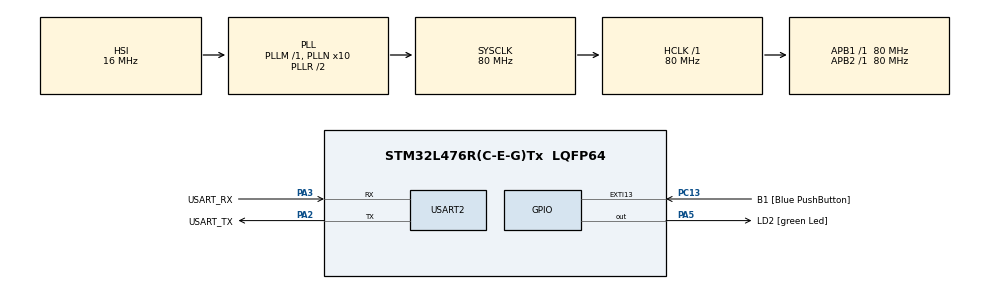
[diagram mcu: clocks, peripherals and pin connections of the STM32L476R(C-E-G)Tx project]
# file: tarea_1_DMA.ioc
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Dma.MEMTOMEM.0.Direction=DMA_MEMORY_TO_MEMORY
Dma.MEMTOMEM.0.Instance=DMA1_Channel1
Dma.MEMTOMEM.0.MemDataAlignment=DMA_MDATAALIGN_BYTE
Dma.MEMTOMEM.0.MemInc=DMA_MINC_ENABLE
Dma.MEMTOMEM.0.Mode=DMA_NORMAL
Dma.MEMTOMEM.0.PeriphDataAlignment=DMA_PDATAALIGN_BYTE
Dma.MEMTOMEM.0.PeriphInc=DMA_PINC_ENABLE
Dma.MEMTOMEM.0.Priority=DMA_PRIORITY_LOW
Dma.Request0=MEMTOMEM
Mcu.Family=STM32L4
Mcu.Name=STM32L476R(C-E-G)Tx
Mcu.Package=LQFP64
NVIC.DMA1_Channel1_IRQn=true\:0\:0\:false\:false\:true\:true\:true\:true
NVIC.PriorityGroup=NVIC_PRIORITYGROUP_4
PA13\ (JTMS-SWDIO).GPIO_Label=TMS
PA13\ (JTMS-SWDIO).Mode=Serial_Wire
PA13\ (JTMS-SWDIO).Signal=SYS_JTMS-SWDIO
PA14\ (JTCK-SWCLK).GPIO_Label=TCK
PA14\ (JTCK-SWCLK).Mode=Serial_Wire
PA14\ (JTCK-SWCLK).Signal=SYS_JTCK-SWCLK
PA2.GPIO_Label=USART_TX
PA2.GPIO_Mode=GPIO_MODE_AF_PP
PA2.GPIO_PuPd=GPIO_NOPULL
PA2.GPIO_Speed=GPIO_SPEED_FREQ_VERY_HIGH
PA2.Mode=Asynchronous
PA2.Signal=USART2_TX
PA3.GPIO_Label=USART_RX
PA3.GPIO_Mode=GPIO_MODE_AF_PP
PA3.GPIO_PuPd=GPIO_NOPULL
PA3.GPIO_Speed=GPIO_SPEED_FREQ_VERY_HIGH
PA3.Mode=Asynchronous
PA3.Signal=USART2_RX
PA5.GPIO_Label=LD2 [green Led]
PA5.GPIO_ModeDefaultOutputPP=GPIO_MODE_OUTPUT_PP
PA5.GPIO_PuPd=GPIO_NOPULL
PA5.GPIO_Speed=GPIO_SPEED_FREQ_LOW
PA5.Signal=GPIO_Output
PB3\ (JTDO-TRACESWO).GPIO_Label=SWO
PB3\ (JTDO-TRACESWO).Signal=SYS_JTDO-SWO
PC13.GPIO_Label=B1 [Blue PushButton]
PC13.GPIO_ModeDefaultEXTI=GPIO_MODE_IT_FALLING
PC13.GPIO_PuPd=GPIO_NOPULL
PC13.Signal=GPXTI13
PC14-OSC32_IN\ (PC14).Mode=LSE-External-Oscillator
PC14-OSC32_IN\ (PC14).Signal=RCC_OSC32_IN
PC15-OSC32_OUT\ (PC15).Mode=LSE-External-Oscillator
PC15-OSC32_OUT\ (PC15).Signal=RCC_OSC32_OUT
PH0-OSC_IN\ (PH0).Signal=RCC_OSC_IN
PH1-OSC_OUT\ (PH1).Signal=RCC_OSC_OUT
ProjectManager.HeapSize=0x200
ProjectManager.StackSize=0x400
ProjectManager.TargetToolchain=STM32CubeIDE
RCC.ADCFreq_Value=64000000
RCC.AHBFreq_Value=80000000
RCC.APB1Freq_Value=80000000
RCC.APB1TimFreq_Value=80000000
RCC.APB2Freq_Value=80000000
RCC.APB2TimFreq_Value=80000000
RCC.CortexFreq_Value=80000000
RCC.HCLKFreq_Value=80000000
RCC.HSE_VALUE=8000000
RCC.HSI_VALUE=16000000
RCC.MSI_VALUE=4000000
RCC.PLLN=10
RCC.PLLSourceVirtual=RCC_PLLSOURCE_HSI
RCC.PREFETCH_ENABLE=1
RCC.SYSCLKFreq_VALUE=80000000
RCC.SYSCLKSource=RCC_SYSCLKSOURCE_PLLCLK
RCC.USBFreq_Value=64000000
RCC.VCOOutputFreq_Value=160000000
USART2.VirtualMode-Asynchronous=VM_ASYNC
board=NUCLEO-L476RG

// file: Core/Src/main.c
/* USER CODE BEGIN Header */
/**
  ******************************************************************************
  * @file           : main.c
  * @brief          : Main program body
  ******************************************************************************
  * @attention
  *
  * Copyright (c) 2026 STMicroelectronics.
  * All rights reserved.
  *
  * This software is licensed under terms that can be found in the LICENSE file
  * in the root directory of this software component.
  * If no LICENSE file comes with this software, it is provided AS-IS.
  *
  ******************************************************************************
  */
/* USER CODE END Header */
#include "main.h"

/* USER CODE BEGIN Includes */
#include <string.h>
/* USER CODE END Includes */

UART_HandleTypeDef huart2;

DMA_HandleTypeDef hdma_memtomem_dma1_channel1;
/* USER CODE BEGIN PV */

uint32_t mapa_error_transfer = 0;
//Arreglos de origen en memoria RAM

uint8_t src_sram_32[32];
uint8_t src_sram_64[64];
uint8_t src_sram_128[128];
uint8_t src_sram_256[256];
uint8_t src_sram_512[512];
uint8_t src_sram_1024[1024];

//Arreglos de origen en memoria flash
const uint8_t src_flash_32[32]   = { [0 ... 31]   = 0xAA };
const uint8_t src_flash_64[64]   = { [0 ... 63]   = 0xBB };
const uint8_t src_flash_128[128] = { [0 ... 127]  = 0xCC };
const uint8_t src_flash_256[256] = { [0 ... 255]  = 0xDD };
const uint8_t src_flash_512[512] = { [0 ... 511]  = 0xEE };
const uint8_t src_flash_1024[1024] = { [0 ... 1023] = 0xFF };

/* Origen en SRAM con memcpy */
uint8_t src_sram_32_memcpy[32];
uint8_t src_sram_64_memcpy[64];
uint8_t src_sram_128_memcpy[128];
uint8_t src_sram_256_memcpy[256];
uint8_t src_sram_512_memcpy[512];
uint8_t src_sram_1024_memcpy[1024];

/* Origen en Flash con memcpy */
const uint8_t src_flash_32_memcpy[32]   = { [0 ... 31]   = 0x11 };
const uint8_t src_flash_64_memcpy[64]   = { [0 ... 63]   = 0x22 };
const uint8_t src_flash_128_memcpy[128] = { [0 ... 127]  = 0x33 };
const uint8_t src_flash_256_memcpy[256] = { [0 ... 255]  = 0x44 };
const uint8_t src_flash_512_memcpy[512] = { [0 ... 511]  = 0x55 };
const uint8_t src_flash_1024_memcpy[1024] = { [0 ... 1023] = 0x66 };

//Arreglos de destino.
//Notar que aunque algunos esten etiquetados como dest_flash esto no implica que esten alojados en la flash, solo es para identificar que el arreglo de origen de los datos se encuentra en la flash
uint8_t dest_sram_32[32];
uint8_t dest_sram_64[64];
uint8_t dest_sram_128[128];
uint8_t dest_sram_256[256];
uint8_t dest_sram_512[512];
uint8_t dest_sram_1024[1024];

uint8_t dest_flash_32[32];
uint8_t dest_flash_64[64];
uint8_t dest_flash_128[128];
uint8_t dest_flash_256[256];
uint8_t dest_flash_512[512];
uint8_t dest_flash_1024[1024];

/* Destino en SRAM con memcpy */
uint8_t dest_sram_32_memcpy[32];
uint8_t dest_sram_64_memcpy[64];
uint8_t dest_sram_128_memcpy[128];
uint8_t dest_sram_256_memcpy[256];
uint8_t dest_sram_512_memcpy[512];
uint8_t dest_sram_1024_memcpy[1024];

/* Destino para flash con memcpy */
uint8_t dest_flash_32_memcpy[32];
uint8_t dest_flash_64_memcpy[64];
uint8_t dest_flash_128_memcpy[128];
uint8_t dest_flash_256_memcpy[256];
uint8_t dest_flash_512_memcpy[512];
uint8_t dest_flash_1024_memcpy[1024];

/* USER CODE END PV */

void SystemClock_Config(void);
static void MX_GPIO_Init(void);
static void MX_DMA_Init(void);
static void MX_USART2_UART_Init(void);
/* USER CODE BEGIN PFP */
void HAL_DMA_XferCpltCallback(DMA_HandleTypeDef *hdma);
/* USER CODE END PFP */

int main(void)
{

  /* MCU Configuration--------------------------------------------------------*/

  /* Reset of all peripherals, Initializes the Flash interface and the Systick. */
  HAL_Init();

  /* USER CODE BEGIN Init */
  //Se llenan los arreglos de la ram con datos
  for(int i = 0;i<1024;i++){
	  if(i<32){
		  src_sram_32[i] = (uint8_t)i;
		  src_sram_32_memcpy[i] = (uint8_t)i;
	  }
	  if(i<64){
		  src_sram_64[i] = (uint8_t)i;
		  src_sram_64_memcpy[i] = (uint8_t)i;
	  }
	  if(i<128){
		  src_sram_128[i] = (uint8_t)i;
		  src_sram_128_memcpy[i] = (uint8_t)i;
	  }
	  if(i<256){
	  		  src_sram_256[i] = (uint8_t)i;
	  		  src_sram_256_memcpy[i] = (uint8_t)i;
	  }
	  if(i<512){
	  		  src_sram_512[i] = (uint8_t)i;
	  		  src_sram_512_memcpy[i] = (uint8_t)i;
	  }
	  if(i<1024){
	  		  src_sram_1024[i] = (uint8_t)i;
	  		  src_sram_1024_memcpy[i] = (uint8_t)i;
	  }
  }
  /* USER CODE END Init */

  /* Configure the system clock */
  SystemClock_Config();

  /* Initialize all configured peripherals */
  MX_GPIO_Init();
  MX_DMA_Init();
  MX_USART2_UART_Init();
  /* USER CODE BEGIN 2 */
  hdma_memtomem_dma1_channel1.XferCpltCallback = HAL_DMA_XferCpltCallback;
  /* USER CODE END 2 */

  /* Infinite loop */
  while (1)
  {

    /* USER CODE BEGIN 3 */

	  //RAM A RAM

	  //Ram a Ram 32 bytes 0 y 1. 7.4us
	  HAL_GPIO_WritePin(LD2_GPIO_Port, LD2_Pin, GPIO_PIN_SET);
	  HAL_DMA_Start_IT(&hdma_memtomem_dma1_channel1, (uint32_t)src_sram_32, (uint32_t)dest_sram_32, 32);
	  HAL_Delay(1000);

	  //Validación de copia
	  if (memcmp(src_sram_32, dest_sram_32, 32) != 0) {
		  mapa_error_transfer |= (1 << 0); // Bit 0 en alto si falla la de 32 bytes de ram a ram con dma
	  }
	  //Ram a Ram 64 bytes 2. 9.1us
	  HAL_GPIO_WritePin(LD2_GPIO_Port, LD2_Pin, GPIO_PIN_SET);
	  HAL_DMA_Start_IT(&hdma_memtomem_dma1_channel1, (uint32_t)src_sram_64, (uint32_t)dest_sram_64, 64);
	  HAL_Delay(1000);
	  if (memcmp(src_sram_64, dest_sram_64, 64) != 0) {
		  mapa_error_transfer |= (1 << 1); // Bit 1 en alto si falla la de 64 bytes de ram a ram con dma
	  }
	  //Ram a Ram 128 bytes 3 y 4. 13.0us
	  HAL_GPIO_WritePin(LD2_GPIO_Port, LD2_Pin, GPIO_PIN_SET);
	  HAL_DMA_Start_IT(&hdma_memtomem_dma1_channel1, (uint32_t)src_sram_128, (uint32_t)dest_sram_128, 128);
	  HAL_Delay(1000);
	  if (memcmp(src_sram_128, dest_sram_128, 128) != 0) {
		  mapa_error_transfer |= (1 << 2); // Bit 2 en alto si falla la de 32 bytes de ram a ram con dma
	  }
	  //Ram a Ram 256 bytes 5. 21.8us
	  HAL_GPIO_WritePin(LD2_GPIO_Port, LD2_Pin, GPIO_PIN_SET);
	  HAL_DMA_Start_IT(&hdma_memtomem_dma1_channel1, (uint32_t)src_sram_256, (uint32_t)dest_sram_256, 256);
	  HAL_Delay(1000);
	  if (memcmp(src_sram_256, dest_sram_256, 256) != 0) {
		  mapa_error_transfer |= (1 << 3);
	  }
	  //Ram a Ram 512 bytes 6. 38.4us
	  HAL_GPIO_WritePin(LD2_GPIO_Port, LD2_Pin, GPIO_PIN_SET);
	  HAL_DMA_Start_IT(&hdma_memtomem_dma1_channel1, (uint32_t)src_sram_512, (uint32_t)dest_sram_512, 512);
	  HAL_Delay(1000);
	  if (memcmp(src_sram_512, dest_sram_512, 512) != 0) {
		  mapa_error_transfer |= (1 << 4);
	  }
	  //Ram a Ram 1024 bytes 7. 71.6us
	  HAL_GPIO_WritePin(LD2_GPIO_Port, LD2_Pin, GPIO_PIN_SET);
	  HAL_DMA_Start_IT(&hdma_memtomem_dma1_channel1, (uint32_t)src_sram_1024, (uint32_t)dest_sram_1024, 1024);
	  HAL_Delay(1000);
	  if (memcmp(src_sram_1024, dest_sram_1024, 1024) != 0) {
		  mapa_error_transfer |= (1 << 5);
	  }

	  //FLASH A RAM

	  //Flash a Ram 32 bytes 8. 7.5us
	  HAL_GPIO_WritePin(LD2_GPIO_Port, LD2_Pin, GPIO_PIN_SET);
	  HAL_DMA_Start_IT(&hdma_memtomem_dma1_channel1, (uint32_t)src_flash_32, (uint32_t)dest_flash_32, 32);
	  HAL_Delay(1000);
	  if (memcmp(src_flash_32, dest_flash_32, 32) != 0) {
		  mapa_error_transfer |= (1 << 6); // Bit 6 en alto si falla la de 32 bytes de flash a ram con dma
	  }
	  //Flash a Ram 64 bytes 9 y 10. 10.7us
	  HAL_GPIO_WritePin(LD2_GPIO_Port, LD2_Pin, GPIO_PIN_SET);
	  HAL_DMA_Start_IT(&hdma_memtomem_dma1_channel1, (uint32_t)src_flash_64, (uint32_t)dest_flash_64, 64);
	  HAL_Delay(1000);
	  if (memcmp(src_flash_64, dest_flash_64, 64) != 0) {
		  mapa_error_transfer |= (1 << 7); // Bit 7 en alto si falla la de 64 bytes de flash a ram con dma
	  }
	  //Flash a Ram 128 bytes 11. 15.9us
	  HAL_GPIO_WritePin(LD2_GPIO_Port, LD2_Pin, GPIO_PIN_SET);
	  HAL_DMA_Start_IT(&hdma_memtomem_dma1_channel1, (uint32_t)src_flash_128, (uint32_t)dest_flash_128, 128);
	  HAL_Delay(1000);
	  if (memcmp(src_flash_128, dest_flash_128, 128) != 0) {
		  mapa_error_transfer |= (1 << 8); // Bit 8 en alto si falla la de 128 bytes de flash a ram con dma
	  }
	  //Flash a Ram 256 bytes 12. 26.2us
	  HAL_GPIO_WritePin(LD2_GPIO_Port, LD2_Pin, GPIO_PIN_SET);
	  HAL_DMA_Start_IT(&hdma_memtomem_dma1_channel1, (uint32_t)src_flash_256, (uint32_t)dest_flash_256, 256);
	  HAL_Delay(1000);
	  if (memcmp(src_flash_256, dest_flash_256, 256) != 0) {
		  mapa_error_transfer |= (1 << 9);
	  }
	  //Flash a Ram 512 bytes 13. 47.1us
	  HAL_GPIO_WritePin(LD2_GPIO_Port, LD2_Pin, GPIO_PIN_SET);
	  HAL_DMA_Start_IT(&hdma_memtomem_dma1_channel1, (uint32_t)src_flash_512, (uint32_t)dest_flash_512, 512);
	  HAL_Delay(1000);
	  if (memcmp(src_flash_512, dest_flash_512, 512) != 0) {
		  mapa_error_transfer |= (1 << 10);
	  }
	  //Flash a Ram 1024 bytes 14. 88.8us
	  HAL_GPIO_WritePin(LD2_GPIO_Port, LD2_Pin, GPIO_PIN_SET);
	  HAL_DMA_Start_IT(&hdma_memtomem_dma1_channel1, (uint32_t)src_flash_1024, (uint32_t)dest_flash_1024, 1024);
	  HAL_Delay(1000);
	  if (memcmp(src_flash_1024, dest_flash_1024, 1024) != 0) {
		  mapa_error_transfer |= (1 << 11);
	  }

	  //RAM A RAM (memcpy)
	  //Ram a Ram 32 bytes 15. 950ns
	  HAL_GPIO_WritePin(LD2_GPIO_Port, LD2_Pin, GPIO_PIN_SET);
	  memcpy(dest_sram_32_memcpy, src_sram_32_memcpy, 32);
	  HAL_GPIO_WritePin(LD2_GPIO_Port, LD2_Pin, GPIO_PIN_RESET);
	  HAL_Delay(1000);
	  if (memcmp(src_sram_32_memcpy, dest_sram_32_memcpy, 32) != 0) {
		  mapa_error_transfer |= (1 << 12); // Bit 12 en alto si falla la de 32 bytes de ram a ram con memcpy
	  }
	  //Ram a Ram 64 bytes 16. 1.07us
	  HAL_GPIO_WritePin(LD2_GPIO_Port, LD2_Pin, GPIO_PIN_SET);
	  memcpy(dest_sram_64_memcpy, src_sram_64_memcpy, 64);
	  HAL_GPIO_WritePin(LD2_GPIO_Port, LD2_Pin, GPIO_PIN_RESET);
	  HAL_Delay(1000);
	  if (memcmp(src_sram_64_memcpy, dest_sram_64_memcpy, 64) != 0) {
		  mapa_error_transfer |= (1 << 13); // Bit 13 en alto si falla la de 64 bytes de ram a ram con memcpy
	  }

	  //Ram a Ram 128 bytes 17. 10.6us
	  HAL_GPIO_WritePin(LD2_GPIO_Port, LD2_Pin, GPIO_PIN_SET);
	  memcpy(dest_sram_128_memcpy, src_sram_128_memcpy, 128);
	  HAL_GPIO_WritePin(LD2_GPIO_Port, LD2_Pin, GPIO_PIN_RESET);
	  HAL_Delay(1000);
	  if (memcmp(src_sram_128_memcpy, dest_sram_128_memcpy, 128) != 0) {
		  mapa_error_transfer |= (1 << 14);
	  }

	  //Ram a Ram 256 bytes 18. 20.2us
	  HAL_GPIO_WritePin(LD2_GPIO_Port, LD2_Pin, GPIO_PIN_SET);
	  memcpy(dest_sram_256_memcpy, src_sram_256_memcpy, 256);
	  HAL_GPIO_WritePin(LD2_GPIO_Port, LD2_Pin, GPIO_PIN_RESET);
	  HAL_Delay(1000);
	  if (memcmp(src_sram_256_memcpy, dest_sram_256_memcpy, 256) != 0) {
		  mapa_error_transfer |= (1 << 15);
	  }

	  //Ram a Ram 512 bytes 19. 39.6us
	  HAL_GPIO_WritePin(LD2_GPIO_Port, LD2_Pin, GPIO_PIN_SET);
	  memcpy(dest_sram_512_memcpy, src_sram_512_memcpy, 512);
	  HAL_GPIO_WritePin(LD2_GPIO_Port, LD2_Pin, GPIO_PIN_RESET);
	  HAL_Delay(1000);
	  if (memcmp(src_sram_512_memcpy, dest_sram_512_memcpy, 512) != 0) {
		  mapa_error_transfer |= (1 << 16);
	  }

	  //Ram a Ram 1024 bytes 20. 77.8us
	  HAL_GPIO_WritePin(LD2_GPIO_Port, LD2_Pin, GPIO_PIN_SET);
	  memcpy(dest_sram_1024_memcpy, src_sram_1024_memcpy, 1024);
	  HAL_GPIO_WritePin(LD2_GPIO_Port, LD2_Pin, GPIO_PIN_RESET);
	  HAL_Delay(1000);
	  if (memcmp(src_sram_1024_memcpy, dest_sram_1024_memcpy, 1024) != 0) {
		  mapa_error_transfer |= (1 << 17);
	  }

	  //FLASH A RAM (memcpy)
	  //Flash a Ram 32 bytes 21. 1.22us
	  HAL_GPIO_WritePin(LD2_GPIO_Port, LD2_Pin, GPIO_PIN_SET);
	  memcpy(dest_flash_32_memcpy, src_flash_32_memcpy, 32);
	  HAL_GPIO_WritePin(LD2_GPIO_Port, LD2_Pin, GPIO_PIN_RESET);
	  HAL_Delay(1000);
	  if (memcmp(src_flash_32_memcpy, dest_flash_32_memcpy, 32) != 0) {
		  mapa_error_transfer |= (1 << 18); // Bit 18 en alto si falla la de 32 bytes de flash a ram con memcpy
	  }

	  //Flash a Ram 64 bytes 22. 1.54us
	  HAL_GPIO_WritePin(LD2_GPIO_Port, LD2_Pin, GPIO_PIN_SET);
	  memcpy(dest_flash_64_memcpy, src_flash_64_memcpy, 64);
	  HAL_GPIO_WritePin(LD2_GPIO_Port, LD2_Pin, GPIO_PIN_RESET);
	  HAL_Delay(1000);
	  if (memcmp(src_flash_64_memcpy, dest_flash_64_memcpy, 64) != 0) {
		  mapa_error_transfer |= (1 << 19); // Bit 19 en alto si falla la de 64 bytes de flash a ram con memcpy
	  }

	  //Flash a Ram 128 bytes 23. 13.0us
	  HAL_GPIO_WritePin(LD2_GPIO_Port, LD2_Pin, GPIO_PIN_SET);
	  memcpy(dest_flash_128_memcpy, src_flash_128_memcpy, 128);
	  HAL_GPIO_WritePin(LD2_GPIO_Port, LD2_Pin, GPIO_PIN_RESET);
	  HAL_Delay(1000);
	  if (memcmp(src_flash_128_memcpy, dest_flash_128_memcpy, 128) != 0) {
		  mapa_error_transfer |= (1 << 20);
	  }

	  //Flash a Ram 256 bytes 24. 25.0us
	  HAL_GPIO_WritePin(LD2_GPIO_Port, LD2_Pin, GPIO_PIN_SET);
	  memcpy(dest_flash_256_memcpy, src_flash_256_memcpy, 256);
	  HAL_GPIO_WritePin(LD2_GPIO_Port, LD2_Pin, GPIO_PIN_RESET);
	  HAL_Delay(1000);
	  if (memcmp(src_flash_256_memcpy, dest_flash_256_memcpy, 256) != 0) {
		  mapa_error_transfer |= (1 << 21);
	  }

	  //Flash a Ram 512 bytes 25. 49.0us
	  HAL_GPIO_WritePin(LD2_GPIO_Port, LD2_Pin, GPIO_PIN_SET);
	  memcpy(dest_flash_512_memcpy, src_flash_512_memcpy, 512);
	  HAL_GPIO_WritePin(LD2_GPIO_Port, LD2_Pin, GPIO_PIN_RESET);
	  HAL_Delay(1000);
	  if (memcmp(src_flash_512_memcpy, dest_flash_512_memcpy, 512) != 0) {
		  mapa_error_transfer |= (1 << 22);
	  }

	  //Flash a Ram 1024 bytes 26. 96.8us
	  HAL_GPIO_WritePin(LD2_GPIO_Port, LD2_Pin, GPIO_PIN_SET);
	  memcpy(dest_flash_1024_memcpy, src_flash_1024_memcpy, 1024);
	  HAL_GPIO_WritePin(LD2_GPIO_Port, LD2_Pin, GPIO_PIN_RESET);
	  HAL_Delay(1000);
	  if (memcmp(src_flash_1024_memcpy, dest_flash_1024_memcpy, 1024) != 0) {  // Bit 23 en alto si falla la de 1024 bytes de flash a ram con memcpy
		  mapa_error_transfer |= (1 << 23);
	  }
  }
  /* USER CODE END 3 */
}

void SystemClock_Config(void)
{
  RCC_OscInitTypeDef RCC_OscInitStruct = {0};
  RCC_ClkInitTypeDef RCC_ClkInitStruct = {0};

  /** Configure the main internal regulator output voltage
  */
  if (HAL_PWREx_ControlVoltageScaling(PWR_REGULATOR_VOLTAGE_SCALE1) != HAL_OK)
  {
    Error_Handler();
  }

  /** Initializes the RCC Oscillators according to the specified parameters
  * in the RCC_OscInitTypeDef structure.
  */
  RCC_OscInitStruct.OscillatorType = RCC_OSCILLATORTYPE_HSI;
  RCC_OscInitStruct.HSIState = RCC_HSI_ON;
  RCC_OscInitStruct.HSICalibrationValue = RCC_HSICALIBRATION_DEFAULT;
  RCC_OscInitStruct.PLL.PLLState = RCC_PLL_ON;
  RCC_OscInitStruct.PLL.PLLSource = RCC_PLLSOURCE_HSI;
  RCC_OscInitStruct.PLL.PLLM = 1;
  RCC_OscInitStruct.PLL.PLLN = 10;
  RCC_OscInitStruct.PLL.PLLP = RCC_PLLP_DIV7;
  RCC_OscInitStruct.PLL.PLLQ = RCC_PLLQ_DIV2;
  RCC_OscInitStruct.PLL.PLLR = RCC_PLLR_DIV2;
  if (HAL_RCC_OscConfig(&RCC_OscInitStruct) != HAL_OK)
  {
    Error_Handler();
  }

  /** Initializes the CPU, AHB and APB buses clocks
  */
  RCC_ClkInitStruct.ClockType = RCC_CLOCKTYPE_HCLK|RCC_CLOCKTYPE_SYSCLK
                              |RCC_CLOCKTYPE_PCLK1|RCC_CLOCKTYPE_PCLK2;
  RCC_ClkInitStruct.SYSCLKSource = RCC_SYSCLKSOURCE_PLLCLK;
  RCC_ClkInitStruct.AHBCLKDivider = RCC_SYSCLK_DIV1;
  RCC_ClkInitStruct.APB1CLKDivider = RCC_HCLK_DIV1;
  RCC_ClkInitStruct.APB2CLKDivider = RCC_HCLK_DIV1;

  if (HAL_RCC_ClockConfig(&RCC_ClkInitStruct, FLASH_LATENCY_4) != HAL_OK)
  {
    Error_Handler();
  }
}

static void MX_USART2_UART_Init(void)
{

  huart2.Instance = USART2;
  huart2.Init.BaudRate = 115200;
  huart2.Init.WordLength = UART_WORDLENGTH_8B;
  huart2.Init.StopBits = UART_STOPBITS_1;
  huart2.Init.Parity = UART_PARITY_NONE;
  huart2.Init.Mode = UART_MODE_TX_RX;
  huart2.Init.HwFlowCtl = UART_HWCONTROL_NONE;
  huart2.Init.OverSampling = UART_OVERSAMPLING_16;
  huart2.Init.OneBitSampling = UART_ONE_BIT_SAMPLE_DISABLE;
  huart2.AdvancedInit.AdvFeatureInit = UART_ADVFEATURE_NO_INIT;
  if (HAL_UART_Init(&huart2) != HAL_OK)
  {
    Error_Handler();
  }

}

static void MX_DMA_Init(void)
{

  /* DMA controller clock enable */
  __HAL_RCC_DMA1_CLK_ENABLE();

  /* Configure DMA request hdma_memtomem_dma1_channel1 on DMA1_Channel1 */
  hdma_memtomem_dma1_channel1.Instance = DMA1_Channel1;
  hdma_memtomem_dma1_channel1.Init.Request = DMA_REQUEST_0;
  hdma_memtomem_dma1_channel1.Init.Direction = DMA_MEMORY_TO_MEMORY;
  hdma_memtomem_dma1_channel1.Init.PeriphInc = DMA_PINC_ENABLE;
  hdma_memtomem_dma1_channel1.Init.MemInc = DMA_MINC_ENABLE;
  hdma_memtomem_dma1_channel1.Init.PeriphDataAlignment = DMA_PDATAALIGN_BYTE;
  hdma_memtomem_dma1_channel1.Init.MemDataAlignment = DMA_MDATAALIGN_BYTE;
  hdma_memtomem_dma1_channel1.Init.Mode = DMA_NORMAL;
  hdma_memtomem_dma1_channel1.Init.Priority = DMA_PRIORITY_LOW;
  if (HAL_DMA_Init(&hdma_memtomem_dma1_channel1) != HAL_OK)
  {
    Error_Handler( );
  }

  /* DMA interrupt init */
  /* DMA1_Channel1_IRQn interrupt configuration */
  HAL_NVIC_SetPriority(DMA1_Channel1_IRQn, 0, 0);
  HAL_NVIC_EnableIRQ(DMA1_Channel1_IRQn);

}

static void MX_GPIO_Init(void)
{
  GPIO_InitTypeDef GPIO_InitStruct = {0};

  /* GPIO Ports Clock Enable */
  __HAL_RCC_GPIOC_CLK_ENABLE();
  __HAL_RCC_GPIOH_CLK_ENABLE();
  __HAL_RCC_GPIOA_CLK_ENABLE();
  __HAL_RCC_GPIOB_CLK_ENABLE();

  /*Configure GPIO pin Output Level */
  HAL_GPIO_WritePin(LD2_GPIO_Port, LD2_Pin, GPIO_PIN_RESET);

  /*Configure GPIO pin : B1_Pin */
  GPIO_InitStruct.Pin = B1_Pin;
  GPIO_InitStruct.Mode = GPIO_MODE_IT_FALLING;
  GPIO_InitStruct.Pull = GPIO_NOPULL;
  HAL_GPIO_Init(B1_GPIO_Port, &GPIO_InitStruct);

  /*Configure GPIO pin : LD2_Pin */
  GPIO_InitStruct.Pin = LD2_Pin;
  GPIO_InitStruct.Mode = GPIO_MODE_OUTPUT_PP;
  GPIO_InitStruct.Pull = GPIO_NOPULL;
  GPIO_InitStruct.Speed = GPIO_SPEED_FREQ_LOW;
  HAL_GPIO_Init(LD2_GPIO_Port, &GPIO_InitStruct);

}

/* USER CODE BEGIN 4 */
void HAL_DMA_XferCpltCallback(DMA_HandleTypeDef *hdma)
{
	if (hdma->Instance == DMA1_Channel1) {
		HAL_GPIO_WritePin(LD2_GPIO_Port, LD2_Pin, GPIO_PIN_RESET);
	}
}
/* USER CODE END 4 */

void Error_Handler(void)
{
  __disable_irq();
  while (1)
  {
  }
}
